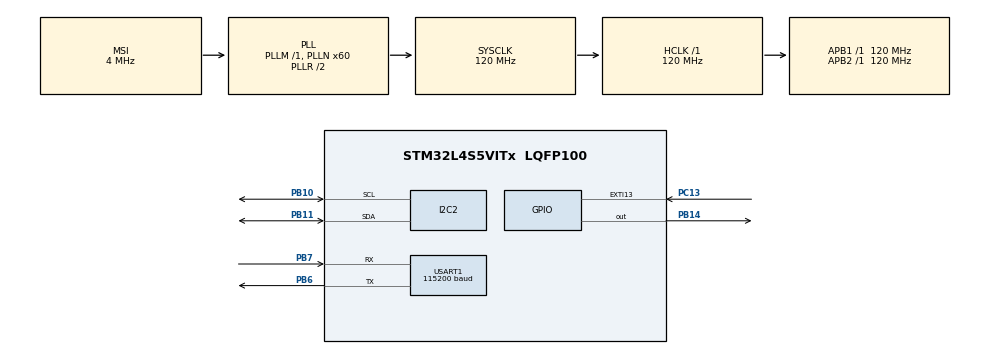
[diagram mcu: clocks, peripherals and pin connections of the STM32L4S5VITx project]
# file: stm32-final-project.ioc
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Dma.Request0=USART1_TX
Dma.USART1_TX.0.Direction=DMA_MEMORY_TO_PERIPH
Dma.USART1_TX.0.EventEnable=DISABLE
Dma.USART1_TX.0.Instance=DMA1_Channel1
Dma.USART1_TX.0.MemDataAlignment=DMA_MDATAALIGN_BYTE
Dma.USART1_TX.0.MemInc=DMA_MINC_ENABLE
Dma.USART1_TX.0.Mode=DMA_NORMAL
Dma.USART1_TX.0.PeriphDataAlignment=DMA_PDATAALIGN_BYTE
Dma.USART1_TX.0.PeriphInc=DMA_PINC_DISABLE
Dma.USART1_TX.0.Polarity=HAL_DMAMUX_REQUEST_GEN_RISING
Dma.USART1_TX.0.Priority=DMA_PRIORITY_LOW
Dma.USART1_TX.0.RequestNumber=1
Dma.USART1_TX.0.SignalID=NONE
Dma.USART1_TX.0.SyncEnable=DISABLE
Dma.USART1_TX.0.SyncPolarity=HAL_DMAMUX_SYNC_NO_EVENT
Dma.USART1_TX.0.SyncRequestNumber=1
Dma.USART1_TX.0.SyncSignalID=NONE
I2C2.Timing=0x30A175AB
Mcu.Family=STM32L4
Mcu.Name=STM32L4S5VITx
Mcu.Package=LQFP100
NVIC.DMA1_Channel1_IRQn=true\:0\:0\:false\:false\:true\:false\:true\:true
NVIC.EXTI15_10_IRQn=true\:0\:0\:false\:false\:true\:true\:true\:true
NVIC.PriorityGroup=NVIC_PRIORITYGROUP_4
NVIC.USART1_IRQn=true\:0\:0\:false\:false\:true\:true\:true\:true
PB10.Mode=I2C
PB10.Signal=I2C2_SCL
PB11.Mode=I2C
PB11.Signal=I2C2_SDA
PB14.Signal=GPIO_Output
PB6.Mode=Asynchronous
PB6.Signal=USART1_TX
PB7.Mode=Asynchronous
PB7.Signal=USART1_RX
PC13.GPIO_ModeDefaultEXTI=GPIO_MODE_IT_RISING_FALLING
PC13.Signal=GPXTI13
ProjectManager.HeapSize=0x200
ProjectManager.StackSize=0x400
ProjectManager.TargetToolchain=STM32CubeIDE
RCC.ADCFreq_Value=48000000
RCC.AHBFreq_Value=120000000
RCC.APB1Freq_Value=120000000
RCC.APB1TimFreq_Value=120000000
RCC.APB2Freq_Value=120000000
RCC.APB2TimFreq_Value=120000000
RCC.CortexFreq_Value=120000000
RCC.HCLKFreq_Value=120000000
RCC.HSE_VALUE=8000000
RCC.HSI48_VALUE=48000000
RCC.HSI_VALUE=16000000
RCC.LSE_VALUE=32768
RCC.MSI_VALUE=4000000
RCC.PLLN=60
RCC.PLLSAI1N=24
RCC.SYSCLKFreq_VALUE=120000000
RCC.SYSCLKSource=RCC_SYSCLKSOURCE_PLLCLK
RCC.USBFreq_Value=48000000
RCC.VCOOutputFreq_Value=240000000
USART1.BaudRate=115200
USART1.VirtualMode-Asynchronous=VM_ASYNC
board=B-L4S5I-IOT01A

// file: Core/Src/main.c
/* USER CODE BEGIN Header */
/**
  ******************************************************************************
  * @file           : main.c
  * @brief          : Main program body
  ******************************************************************************
  * @attention
  *
  * Copyright (c) 2024 STMicroelectronics.
  * All rights reserved.
  *
  * This software is licensed under terms that can be found in the LICENSE file
  * in the root directory of this software component.
  * If no LICENSE file comes with this software, it is provided AS-IS.
  *
  ******************************************************************************
  */
/* USER CODE END Header */
#include <kalman2d.h>
#include "main.h"

/* USER CODE BEGIN Includes */
#include "arm_math.h"
#include "stm32l4s5i_iot01_accelero.h"
#include "stm32l4s5i_iot01_gyro.h"
#include "telemetry.h"
#include <string.h>
#include <stdio.h>
/* USER CODE END Includes */

I2C_HandleTypeDef hi2c2;

UART_HandleTypeDef huart1;
DMA_HandleTypeDef hdma_usart1_tx;

/* USER CODE BEGIN PV */
volatile int buttonPressed = 0;
uint16_t BTN_Pin = GPIO_PIN_13;

Kalman2D kf_pitch;
Kalman2D kf_roll;

// DMA Telemetry buffer & completion flag
TelemetryPacket tx_packet;
volatile uint8_t uart_tx_ready = 1;
/* USER CODE END PV */

void SystemClock_Config(void);
static void MX_GPIO_Init(void);
static void MX_DMA_Init(void);
static void MX_I2C2_Init(void);
static void MX_USART1_UART_Init(void);

/* USER CODE BEGIN 0 */
void HAL_GPIO_EXTI_Callback(uint16_t GPIO_Pin) {
    if (GPIO_Pin == BTN_Pin) {
    	// When pushbutton is held down
        if (HAL_GPIO_ReadPin(GPIOC, BTN_Pin) == GPIO_PIN_RESET) {
            buttonPressed = 1;
        }
        // When pushbutton is released
        else {
            buttonPressed = 0;
        }
    }
}

/* USER CODE END 0 */

int main(void)
{

  /* MCU Configuration--------------------------------------------------------*/

  /* Reset of all peripherals, Initializes the Flash interface and the Systick. */
  HAL_Init();

  /* Configure the system clock */
  SystemClock_Config();

  /* Initialize all configured peripherals */
  MX_GPIO_Init();
  MX_DMA_Init();
  MX_I2C2_Init();
  MX_USART1_UART_Init();
  /* USER CODE BEGIN 2 */
  BSP_ACCELERO_Init();
  BSP_GYRO_Init();

  Kalman2D_Init(&kf_pitch, 0.001f, 0.003f, 0.03f);
  Kalman2D_Init(&kf_roll,  0.001f, 0.003f, 0.03f);

  float gyroVal[3];
  int16_t acceleroVal[3];
  const float dt = 0.01f; // 100 Hz loop -> 10 ms

  float pitch = 0.0f;
  float roll = 0.0f;

  BSP_ACCELERO_AccGetXYZ(acceleroVal);
  float ax_init = (float)acceleroVal[0];
  float ay_init = (float)acceleroVal[1];
  float az_init = (float)acceleroVal[2];

  kf_pitch.angle = atan2f(-ax_init, sqrtf(ay_init * ay_init + az_init * az_init)) * (180.0f / M_PI);
  kf_roll.angle  = atan2f(ay_init,  sqrtf(ax_init * ax_init + az_init * az_init)) * (180.0f / M_PI);

  uint32_t last_tick = HAL_GetTick();
  /* USER CODE END 2 */

  /* Infinite loop */
  while (1)
  {

    /* USER CODE BEGIN 3 */
	  // Get accelerometer data (X, Y, Z axes) and store it in acceleroVal array
	  BSP_ACCELERO_AccGetXYZ(acceleroVal);
	  BSP_GYRO_GetXYZ(gyroVal);

	  // Convert gyro readings to deg/s
	  float gx = gyroVal[0] / 1000.0f;
	  float gy = gyroVal[1] / 1000.0f;

	  // Convert raw accelerometer readings to floating-point values for calculations
	  float ax = (float)acceleroVal[0];
	  float ay = (float)acceleroVal[1];
	  float az = (float)acceleroVal[2];

	  float pitch_acc = atan2f(-ax, sqrtf(ay * ay + az * az)) * (180.0f / M_PI);
	  float roll_acc  = atan2f(ay,  sqrtf(ax * ax + az * az)) * (180.0f / M_PI);

	  pitch = Kalman2D_Update(&kf_pitch, pitch_acc, gy, dt);
	  roll  = Kalman2D_Update(&kf_roll,  roll_acc,  gx, dt);

	  if (uart_tx_ready) {
		  uart_tx_ready = 0;

		  tx_packet.header[0] = TELEMETRY_HEADER_BYTE1;
		  tx_packet.header[1] = TELEMETRY_HEADER_BYTE2;
		  tx_packet.pitch_fused = pitch;
		  tx_packet.pitch_raw   = pitch_acc;
		  tx_packet.roll_fused  = roll;
		  tx_packet.roll_raw    = roll_acc;
		  tx_packet.button_state = (uint8_t)buttonPressed;

		  // Checksum covers 4 floats + 1 byte = 17 bytes
		  tx_packet.checksum = Fletcher16_Calculate((uint8_t*)&tx_packet.pitch_fused,
		                                            sizeof(float) * 4 + sizeof(uint8_t));

		  HAL_UART_Transmit_DMA(&huart1, (uint8_t*)&tx_packet, sizeof(TelemetryPacket));

		  HAL_StatusTypeDef status = HAL_UART_Transmit_DMA(&huart1, (uint8_t*)&tx_packet, sizeof(TelemetryPacket));
		  if (status != HAL_OK) {
			  // If it returns HAL_BUSY or HAL_ERROR, reset the flag so it tries again
		      uart_tx_ready = 1;
		  }
	  }

	  // Precise 100 Hz rate keeper
	  while ((HAL_GetTick() - last_tick) < 10){}
	  last_tick += 10;
  }
  /* USER CODE END 3 */
}

void SystemClock_Config(void)
{
  RCC_OscInitTypeDef RCC_OscInitStruct = {0};
  RCC_ClkInitTypeDef RCC_ClkInitStruct = {0};

  /** Configure the main internal regulator output voltage
  */
  if (HAL_PWREx_ControlVoltageScaling(PWR_REGULATOR_VOLTAGE_SCALE1_BOOST) != HAL_OK)
  {
    Error_Handler();
  }

  /** Initializes the RCC Oscillators according to the specified parameters
  * in the RCC_OscInitTypeDef structure.
  */
  RCC_OscInitStruct.OscillatorType = RCC_OSCILLATORTYPE_MSI;
  RCC_OscInitStruct.MSIState = RCC_MSI_ON;
  RCC_OscInitStruct.MSICalibrationValue = 0;
  RCC_OscInitStruct.MSIClockRange = RCC_MSIRANGE_6;
  RCC_OscInitStruct.PLL.PLLState = RCC_PLL_ON;
  RCC_OscInitStruct.PLL.PLLSource = RCC_PLLSOURCE_MSI;
  RCC_OscInitStruct.PLL.PLLM = 1;
  RCC_OscInitStruct.PLL.PLLN = 60;
  RCC_OscInitStruct.PLL.PLLP = RCC_PLLP_DIV2;
  RCC_OscInitStruct.PLL.PLLQ = RCC_PLLQ_DIV2;
  RCC_OscInitStruct.PLL.PLLR = RCC_PLLR_DIV2;
  if (HAL_RCC_OscConfig(&RCC_OscInitStruct) != HAL_OK)
  {
    Error_Handler();
  }

  /** Initializes the CPU, AHB and APB buses clocks
  */
  RCC_ClkInitStruct.ClockType = RCC_CLOCKTYPE_HCLK|RCC_CLOCKTYPE_SYSCLK
                              |RCC_CLOCKTYPE_PCLK1|RCC_CLOCKTYPE_PCLK2;
  RCC_ClkInitStruct.SYSCLKSource = RCC_SYSCLKSOURCE_PLLCLK;
  RCC_ClkInitStruct.AHBCLKDivider = RCC_SYSCLK_DIV1;
  RCC_ClkInitStruct.APB1CLKDivider = RCC_HCLK_DIV1;
  RCC_ClkInitStruct.APB2CLKDivider = RCC_HCLK_DIV1;

  if (HAL_RCC_ClockConfig(&RCC_ClkInitStruct, FLASH_LATENCY_5) != HAL_OK)
  {
    Error_Handler();
  }
}

static void MX_I2C2_Init(void)
{

  hi2c2.Instance = I2C2;
  hi2c2.Init.Timing = 0x30A175AB;
  hi2c2.Init.OwnAddress1 = 0;
  hi2c2.Init.AddressingMode = I2C_ADDRESSINGMODE_7BIT;
  hi2c2.Init.DualAddressMode = I2C_DUALADDRESS_DISABLE;
  hi2c2.Init.OwnAddress2 = 0;
  hi2c2.Init.OwnAddress2Masks = I2C_OA2_NOMASK;
  hi2c2.Init.GeneralCallMode = I2C_GENERALCALL_DISABLE;
  hi2c2.Init.NoStretchMode = I2C_NOSTRETCH_DISABLE;
  if (HAL_I2C_Init(&hi2c2) != HAL_OK)
  {
    Error_Handler();
  }

  /** Configure Analogue filter
  */
  if (HAL_I2CEx_ConfigAnalogFilter(&hi2c2, I2C_ANALOGFILTER_ENABLE) != HAL_OK)
  {
    Error_Handler();
  }

  /** Configure Digital filter
  */
  if (HAL_I2CEx_ConfigDigitalFilter(&hi2c2, 0) != HAL_OK)
  {
    Error_Handler();
  }

}

static void MX_USART1_UART_Init(void)
{

  huart1.Instance = USART1;
  huart1.Init.BaudRate = 115200;
  huart1.Init.WordLength = UART_WORDLENGTH_8B;
  huart1.Init.StopBits = UART_STOPBITS_1;
  huart1.Init.Parity = UART_PARITY_NONE;
  huart1.Init.Mode = UART_MODE_TX_RX;
  huart1.Init.HwFlowCtl = UART_HWCONTROL_NONE;
  huart1.Init.OverSampling = UART_OVERSAMPLING_16;
  huart1.Init.OneBitSampling = UART_ONE_BIT_SAMPLE_DISABLE;
  huart1.Init.ClockPrescaler = UART_PRESCALER_DIV1;
  huart1.AdvancedInit.AdvFeatureInit = UART_ADVFEATURE_NO_INIT;
  if (HAL_UART_Init(&huart1) != HAL_OK)
  {
    Error_Handler();
  }
  if (HAL_UARTEx_SetTxFifoThreshold(&huart1, UART_TXFIFO_THRESHOLD_1_8) != HAL_OK)
  {
    Error_Handler();
  }
  if (HAL_UARTEx_SetRxFifoThreshold(&huart1, UART_RXFIFO_THRESHOLD_1_8) != HAL_OK)
  {
    Error_Handler();
  }
  if (HAL_UARTEx_DisableFifoMode(&huart1) != HAL_OK)
  {
    Error_Handler();
  }

}

static void MX_DMA_Init(void)
{

  /* DMA controller clock enable */
  __HAL_RCC_DMAMUX1_CLK_ENABLE();
  __HAL_RCC_DMA1_CLK_ENABLE();

  /* DMA interrupt init */
  /* DMA1_Channel1_IRQn interrupt configuration */
  HAL_NVIC_SetPriority(DMA1_Channel1_IRQn, 0, 0);
  HAL_NVIC_EnableIRQ(DMA1_Channel1_IRQn);

}

static void MX_GPIO_Init(void)
{
  GPIO_InitTypeDef GPIO_InitStruct = {0};

  /* GPIO Ports Clock Enable */
  __HAL_RCC_GPIOC_CLK_ENABLE();
  __HAL_RCC_GPIOB_CLK_ENABLE();

  /*Configure GPIO pin Output Level */
  HAL_GPIO_WritePin(GPIOB, GPIO_PIN_14, GPIO_PIN_RESET);

  /*Configure GPIO pin : PC13 */
  GPIO_InitStruct.Pin = GPIO_PIN_13;
  GPIO_InitStruct.Mode = GPIO_MODE_IT_RISING_FALLING;
  GPIO_InitStruct.Pull = GPIO_NOPULL;
  HAL_GPIO_Init(GPIOC, &GPIO_InitStruct);

  /*Configure GPIO pin : PB14 */
  GPIO_InitStruct.Pin = GPIO_PIN_14;
  GPIO_InitStruct.Mode = GPIO_MODE_OUTPUT_PP;
  GPIO_InitStruct.Pull = GPIO_NOPULL;
  GPIO_InitStruct.Speed = GPIO_SPEED_FREQ_LOW;
  HAL_GPIO_Init(GPIOB, &GPIO_InitStruct);

  /* EXTI interrupt init*/
  HAL_NVIC_SetPriority(EXTI15_10_IRQn, 0, 0);
  HAL_NVIC_EnableIRQ(EXTI15_10_IRQn);

}

/* USER CODE BEGIN 4 */
void HAL_UART_TxCpltCallback(UART_HandleTypeDef *huart)
{
    if (huart->Instance == USART1)
    {
        uart_tx_ready = 1;
    }
}
/* USER CODE END 4 */

void Error_Handler(void)
{
  __disable_irq();
  while (1)
  {
  }
}
